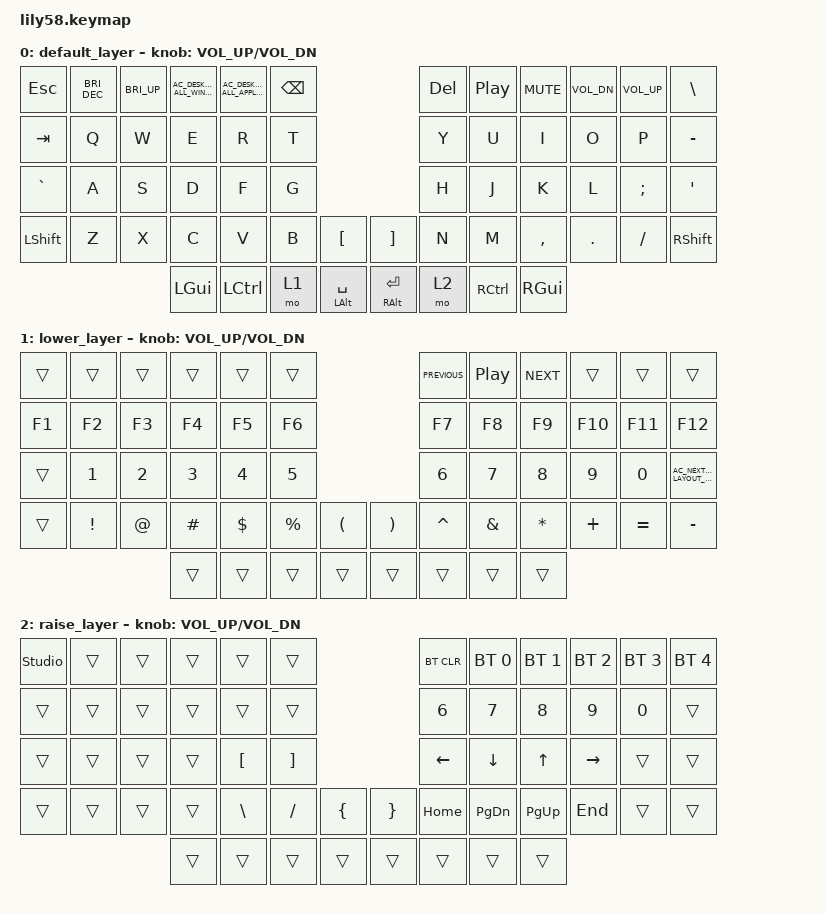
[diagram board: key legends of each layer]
/*
 * Copyright (c) 2020 The ZMK Contributors
 *
 * SPDX-License-Identifier: MIT
 */

#include <behaviors.dtsi>
#include <dt-bindings/zmk/bt.h>
#include <dt-bindings/zmk/keys.h>

/ {
    keymap {
        compatible = "zmk,keymap";

        default_layer {
            // ------------------------------------------------------------------------------------------------------------
            // |  ESC  |  1  |  2  |  3   |  4   |  5   |                   |  6   |  7    |  8    |  9   |   0   |   `   |
            // |  TAB  |  Q  |  W  |  E   |  R   |  T   |                   |  Y   |  U    |  I    |  O   |   P   |   -   |
            // |  CTRL |  A  |  S  |  D   |  F   |  G   |                   |  H   |  J    |  K    |  L   |   ;   |   '   |
            // | SHIFT |  Z  |  X  |  C   |  V   |  B   |   "["  |  |  "]"  |  N   |  M    |  ,    |  .   |   /   | SHIFT |
            //                     | ALT  | GUI  | LOWER|  SPACE |  | ENTER | RAISE| BSPC  | GUI   |

            bindings = <
&kp ESC         &kp C_BRIGHTNESS_DEC  &kp C_BRI_UP  &kp C_AC_DESKTOP_SHOW_ALL_WINDOWS  &kp C_AC_DESKTOP_SHOW_ALL_APPLICATIONS  &kp BACKSPACE                                  &kp DELETE  &kp C_PP   &kp C_MUTE  &kp C_VOL_DN  &kp C_VOLUME_UP  &kp BACKSLASH
&kp TAB         &kp Q                 &kp W         &kp E                              &kp R                                   &kp T                                          &kp Y       &kp U      &kp I       &kp O         &kp P            &kp MINUS
&kp GRAVE       &kp A                 &kp S         &kp D                              &kp F                                   &kp G                                          &kp H       &kp J      &kp K       &kp L         &kp SEMI         &kp SQT
&kp LEFT_SHIFT  &kp Z                 &kp X         &kp C                              &kp V                                   &kp B          &kp LBKT          &kp RBKT      &kp N       &kp M      &kp COMMA   &kp DOT       &kp SLASH        &kp RIGHT_SHIFT
                                                    &kp LGUI                           &kp LCTRL                               &mo 1          &mt LALT SPACE    &mt RALT RET  &mo 2       &kp RCTRL  &kp RGUI
            >;

            sensor-bindings = <&inc_dec_kp C_VOL_UP C_VOL_DN>;
        };

        lower_layer {
            // --------------------------------------------------------------------------------------------------------------
            // | LPAD  | BRDn | BRUp |  MUT |  Vo- |  Vo+ |                   |      |       |       |      |       |       |
            // |  F1   |  F2  |  F3  |  F4  |  F5  |  F6  |                   |  F7  |  F8   |  F9   |  F10 |  F11  |  F12  |
            // |   `   |  !   |  @   |  #   |  $   |  %   |                   |  ^   |  &    |  *    |  (   |   )   |   ~   |
            // |       |      |      |      |      |      |        |  |       |      |  _    |  +    |  {   |   }   |  "|"  |
            //                       |      |      |      |        |  |       |      |       |       |

            bindings = <
&trans  &trans        &trans        &trans        &trans        &trans                              &kp C_PREVIOUS  &kp C_PLAY_PAUSE  &kp C_NEXT    &trans        &trans        &trans
&kp F1  &kp F2        &kp F3        &kp F4        &kp F5        &kp F6                              &kp F7          &kp F8            &kp F9        &kp F10       &kp F11       &kp F12
&trans  &kp NUMBER_1  &kp NUMBER_2  &kp NUMBER_3  &kp NUMBER_4  &kp NUMBER_5                        &kp NUMBER_6    &kp NUMBER_7      &kp NUMBER_8  &kp NUMBER_9  &kp NUMBER_0  &kp C_AC_NEXT_KEYBOARD_LAYOUT_SELECT
&trans  &kp EXCL      &kp AT        &kp HASH      &kp DOLLAR    &kp PRCNT     &kp LPAR    &kp RPAR  &kp CARET       &kp AMPS          &kp ASTRK     &kp PLUS      &kp EQUAL     &kp MINUS
                                    &trans        &trans        &trans        &trans      &trans    &trans          &trans            &trans
            >;

            sensor-bindings = <&inc_dec_kp C_VOL_UP C_VOL_DN>;
        };

        raise_layer {
            // ------------------------------------------------------------------------------------------------------------
            // |       |     |     |      |      |      |                   |      |       |       |      |       |       |
            // |   `   |  1  |  2  |  3   |  4   |  5   |                   |  6   |   7   |   8   |  9   |   0   |       |
            // |   F1  |  F2 |  F3 |  F4  |  F5  |  F6  |                   |      |   <-  |   v   |  ^   |  ->   |       |
            // |   F7  |  F8 |  F9 |  F10 |  F11 |  F12 |        |  |       |  +   |   -   |   =   |  [   |   ]   |   \   |
            //                     |      |      |      |        |  |       |      |       |       |

            bindings = <
&studio_unlock  &trans  &trans  &trans  &trans         &trans                                        &bt BT_CLR      &bt BT_SEL 0    &bt BT_SEL 1  &bt BT_SEL 2     &bt BT_SEL 3  &bt BT_SEL 4
&trans          &trans  &trans  &trans  &trans         &trans                                        &kp N6          &kp N7          &kp N8        &kp N9           &kp N0        &trans
&trans          &trans  &trans  &trans  &kp LBKT       &kp RBKT                                      &kp LEFT_ARROW  &kp DOWN_ARROW  &kp UP_ARROW  &kp RIGHT_ARROW  &trans        &trans
&trans          &trans  &trans  &trans  &kp BACKSLASH  &kp SLASH  &kp LEFT_BRACE    &kp RIGHT_BRACE  &kp HOME        &kp PAGE_DOWN   &kp PAGE_UP   &kp END          &trans        &trans
                                &trans  &trans         &trans     &trans            &trans           &trans          &trans          &trans
            >;

            sensor-bindings = <&inc_dec_kp C_VOL_UP C_VOL_DN>;
        };
    };
};
